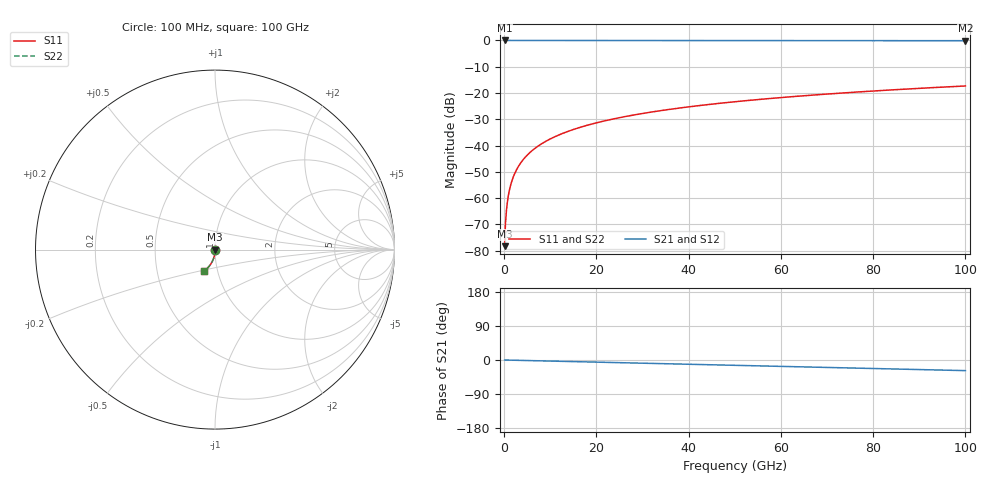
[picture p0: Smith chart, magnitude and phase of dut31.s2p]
! Touchstone file exported from HFSS 2026.1.0
!  File:  C:/ffzhzh/LocalFiles/Ansys_Project_Files/temp_train_TSV_31_1783504600_31944.aedt
!  Generated:  05:57:45 PM Jul  8, 2026
!  Design:  TSV
!  Project:  temp_train_TSV_31_1783504600_31944
! Variables:
!  h_bsmrdl = 2um
!  h_ox = 20um
!  h_rdl = 5um
!  h_sub = 52.21um
!  h_tmrdl = 5um
!  h_tsv = 52.21um
!  h_via = 3um
!  l_bsmrdl = 300um
!  l_sub = 427.86um
!  l_tmrdl = 200um
!  m_sub = 200um
!  pitch = 43.19um
!  r_tsv = 13.93um
!  s_tmrdl = 10um
!  w_bsmrdl = 18um
!  w_sub = 500um
!  w_tmrdl = 12um
!  x_tsv_center1 = 206um
!  x_tsv_center2 = 524um
!  x_tsv_center3 = 736um
!  x_tsv_center4 = 1054um
!  x_tsv_center5 = 1266um
!  x_tsv_center6 = 1584um
# GHz S MA R 50.000000
! Terminal data exported
! Port[1] = TSV1_1_T1
! Port[2] = TSV1_1_T2
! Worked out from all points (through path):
!   1000 points, 100 MHz to 100 GHz, reference 50 ohm
!   highest |S21| = 0.00 dB at 100 MHz (marker M1); lowest = -0.1 dB at 100 GHz (marker M2)
!   group delay of S21, straight-line fit = 778 fs
!   lowest |S11| = -78.3 dB at 100 MHz (marker M3), VSWR 1.00, Z = 50 - j0.0105 ohm
!   |S11| at or under -10 dB: start of sweep to end of sweep
!   |S22| runs from -78.3 to -17.3 dB; largest |S21 - S12| = 1.7e-15
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0.1  0.0001221 -59.5  0.9999 -0.0  0.9999 -0.0  0.0001221 -59.5
! Gamma 0 0 0 0
! Port Impedance 50 0 50 0
0.4  0.0004605 -77.1  0.9999 -0.1  0.9999 -0.1  0.0004605 -77.1
0.7  0.0008419 -80.3  0.9999 -0.2  0.9999 -0.2  0.0008419 -80.3
0.8  0.0009721 -81.0  0.9998 -0.2  0.9998 -0.2  0.0009721 -81.0
1  0.001234 -82.2  0.9998 -0.3  0.9998 -0.3  0.001234 -82.2
1.3  0.001628 -83.5  0.9998 -0.4  0.9998 -0.4  0.001628 -83.5
1.7  0.002156 -84.6  0.9998 -0.5  0.9998 -0.5  0.002156 -84.6
2.3  0.002951 -85.6  0.9997 -0.7  0.9997 -0.7  0.002951 -85.6
2.9  0.003753 -86.4  0.9997 -0.8  0.9997 -0.8  0.003753 -86.4
3.7  0.004828 -87.1  0.9997 -1.1  0.9997 -1.1  0.004828 -87.1
4.7  0.00618 -87.9  0.9996 -1.3  0.9996 -1.3  0.00618 -87.9
5.8  0.007672 -88.5  0.9996 -1.6  0.9996 -1.6  0.007672 -88.5
8.6  0.01148 -89.9  0.9994 -2.4  0.9994 -2.4  0.01148 -89.9
12.2  0.01639 -91.3  0.9992 -3.4  0.9992 -3.4  0.01639 -91.3
16.8  0.02269 -92.9  0.999 -4.7  0.999 -4.7  0.02269 -92.9
24.2  0.03285 -95.3  0.9986 -6.8  0.9986 -6.8  0.03285 -95.3
33.4  0.04548 -98.1  0.9979 -9.4  0.9979 -9.4  0.04548 -98.1
41.2  0.05618 -100.4  0.9973 -11.6  0.9973 -11.6  0.05618 -100.4
50.1  0.06838 -103.0  0.9964 -14.0  0.9964 -14.0  0.06838 -103.0
66.7  0.0911 -107.8  0.9943 -18.7  0.9943 -18.7  0.0911 -107.8
83.4  0.1138 -112.6  0.9918 -23.4  0.9918 -23.4  0.1138 -112.6
100  0.1362 -117.4  0.9886 -28.0  0.9886 -28.0  0.1362 -117.4
